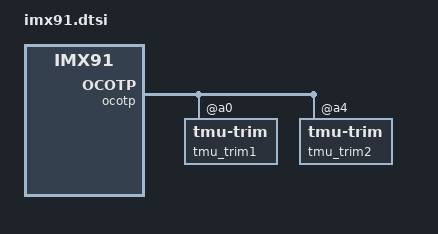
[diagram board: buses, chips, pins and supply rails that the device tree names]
// SPDX-License-Identifier: (GPL-2.0+ OR MIT)
/*
 * Copyright 2025 NXP
 */

#include "imx91-pinfunc.h"
#include "imx91_93_common.dtsi"

/{
	thermal_zones: thermal-zones {
		cpu-thermal {
			polling-delay-passive = <250>;
			polling-delay = <2000>;
			thermal-sensors = <&tempsense0>;
			trips {
				cpu_alert0: trip0 {
					temperature = <80000>;
					hysteresis = <2000>;
					type = "passive";
				};

				cpu_crit0: trip1 {
					temperature = <90000>;
					hysteresis = <2000>;
					type = "critical";
				};
			};

			cooling-maps {
				map0 {
					trip = <&cpu_alert0>;
					cooling-device =
						<&A55_0 THERMAL_NO_LIMIT THERMAL_NO_LIMIT>,
						<&lpm 0 1>;
				};
			};
		};
	};
};

&aips1 {
	tempsense0: thermal-sensor@44482000 {
		compatible = "fsl,imx91-tmu";
		reg = <0x44482000 0x1000>;
		#thermal-sensor-cells = <0>;
		clocks = <&clk IMX93_CLK_TMC_GATE>;
		nvmem-cells = <&tmu_trim1>, <&tmu_trim2>;
		nvmem-cell-names = "tmu-trim1", "tmu-trim2";
		status = "disabled";
	};
};

&clk {
	compatible = "fsl,imx91-ccm";
};

&ddr_pmu {
	compatible = "fsl,imx91-ddr-pmu", "fsl,imx93-ddr-pmu";
};

&eqos {
	clocks = <&clk IMX91_CLK_ENET1_QOS_TSN_GATE>,
		 <&clk IMX91_CLK_ENET1_QOS_TSN_GATE>,
		 <&clk IMX91_CLK_ENET_TIMER>,
		 <&clk IMX91_CLK_ENET1_QOS_TSN>,
		 <&clk IMX91_CLK_ENET1_QOS_TSN_GATE>;
	assigned-clocks = <&clk IMX91_CLK_ENET_TIMER>,
			  <&clk IMX91_CLK_ENET1_QOS_TSN>;
	assigned-clock-parents = <&clk IMX93_CLK_SYS_PLL_PFD1_DIV2>,
				 <&clk IMX93_CLK_SYS_PLL_PFD0_DIV2>;
	assigned-clock-rates = <100000000>, <250000000>;
};

&fec {
	clocks = <&clk IMX91_CLK_ENET2_REGULAR_GATE>,
		 <&clk IMX91_CLK_ENET2_REGULAR_GATE>,
		 <&clk IMX91_CLK_ENET_TIMER>,
		 <&clk IMX91_CLK_ENET2_REGULAR>,
		 <&clk IMX93_CLK_DUMMY>;
	assigned-clocks = <&clk IMX91_CLK_ENET_TIMER>,
			  <&clk IMX91_CLK_ENET2_REGULAR>;
	assigned-clock-parents = <&clk IMX93_CLK_SYS_PLL_PFD1_DIV2>,
				 <&clk IMX93_CLK_SYS_PLL_PFD0_DIV2>;
	assigned-clock-rates = <100000000>, <250000000>;
};

&i3c1 {
	clocks = <&clk IMX93_CLK_BUS_AON>,
		 <&clk IMX93_CLK_I3C1_GATE>,
		 <&clk IMX93_CLK_DUMMY>;
};

&i3c2 {
	clocks = <&clk IMX93_CLK_BUS_WAKEUP>,
		 <&clk IMX93_CLK_I3C2_GATE>,
		 <&clk IMX93_CLK_DUMMY>;
};

&iomuxc {
	compatible = "fsl,imx91-iomuxc";
};

&lpm {
	no-od-mode;
	clocks = <&clk IMX93_CLK_M33>, <&clk IMX93_CLK_WAKEUP_AXI>,
		 <&clk IMX93_CLK_NIC_AXI>, <&clk IMX93_CLK_MEDIA_AXI>,
		 <&clk IMX93_CLK_MEDIA_APB>, <&clk IMX93_CLK_A55_PERIPH>,
		 <&clk IMX93_CLK_A55_CORE>, <&clk IMX93_CLK_DUMMY>,
		 <&clk IMX93_CLK_SYS_PLL_PFD0>, <&clk IMX93_CLK_SYS_PLL_PFD0_DIV2>,
		 <&clk IMX93_CLK_SYS_PLL_PFD1>, <&clk IMX93_CLK_SYS_PLL_PFD1_DIV2>,
		 <&clk IMX93_CLK_SYS_PLL_PFD2>, <&clk IMX93_CLK_SYS_PLL_PFD2_DIV2>;
};

&isi {
	compatible = "fsl,imx91-isi";
};

&media_blk_ctrl {
	compatible = "fsl,imx91-media-blk-ctrl", "syscon", "simple-mfd";
	clocks = <&clk IMX93_CLK_MEDIA_APB>,
		 <&clk IMX93_CLK_MEDIA_AXI>,
		 <&clk IMX93_CLK_NIC_MEDIA_GATE>,
		 <&clk IMX93_CLK_MEDIA_DISP_PIX>,
		 <&clk IMX93_CLK_CAM_PIX>,
		 <&clk IMX93_CLK_LCDIF_GATE>,
		 <&clk IMX93_CLK_ISI_GATE>,
		 <&clk IMX93_CLK_MIPI_CSI_GATE>;
	clock-names = "apb", "axi", "nic", "disp", "cam",
		      "lcdif", "isi", "csi";
	assigned-clocks = <&clk IMX93_CLK_MEDIA_AXI>,
			  <&clk IMX93_CLK_MEDIA_APB>,
			  <&clk IMX93_CLK_MEDIA_DISP_PIX>;
	assigned-clock-parents = <&clk IMX93_CLK_SYS_PLL_PFD0>,
				 <&clk IMX93_CLK_SYS_PLL_PFD0_DIV2>,
				 <&clk IMX93_CLK_VIDEO_PLL>;
	assigned-clock-rates = <333333334>, <125000000>;
};

&ocotp {
	tmu_trim1: tmu-trim@a0 {
		reg = <0xa0 0x4>;
	};

	tmu_trim2: tmu-trim@a4 {
		reg = <0xa4 0x4>;
	};
};
